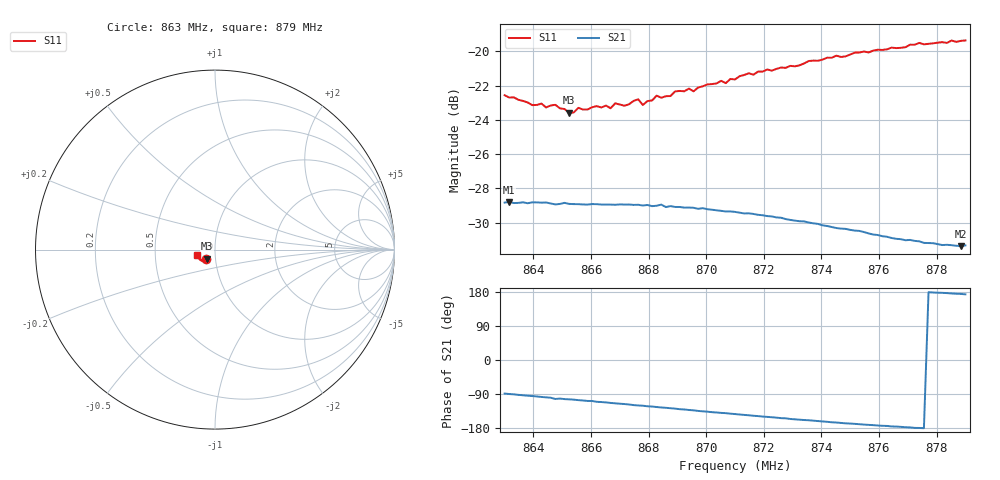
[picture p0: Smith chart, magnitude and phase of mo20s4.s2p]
# HZ S RI R 50
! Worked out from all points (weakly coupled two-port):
!   101 points, 863 MHz to 879 MHz, reference 50 ohm
!   highest |S21| = -28.79 dB at 863.16 MHz (marker M1); lowest = -31.4 dB at 878.84 MHz (marker M2)
!   lowest |S11| = -23.6 dB at 865.24 MHz (marker M3), VSWR 1.14, Z = 45.7 - j4.65 ohm
!   |S11| at or under -10 dB: start of sweep to end of sweep
!   S12 and S22 are empty: the file has one direction only
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8.63e8  -0.0527 -0.0525  0.000939 -0.0362  0 0  0 0
8.6316e8  -0.0506 -0.053  0.000124 -0.0364  0 0  0 0
8.6444e8  -0.046 -0.0508  -0.00537 -0.0358  0 0  0 0
8.6476e8  -0.0457 -0.0527  -0.00794 -0.0348  0 0  0 0
8.6524e8  -0.0425 -0.0507  -0.00853 -0.0348  0 0  0 0
8.6572e8  -0.0419 -0.0531  -0.0103 -0.0342  0 0  0 0
8.6652e8  -0.0409 -0.0561  -0.0133 -0.0331  0 0  0 0
8.6668e8  -0.0404 -0.0549  -0.0141 -0.0328  0 0  0 0
8.6684e8  -0.0414 -0.057  -0.0147 -0.0325  0 0  0 0
8.6716e8  -0.0409 -0.056  -0.0158 -0.032  0 0  0 0
8.6764e8  -0.0428 -0.0584  -0.0178 -0.0309  0 0  0 0
8.678e8  -0.0409 -0.0564  -0.0181 -0.0305  0 0  0 0
8.6828e8  -0.0423 -0.061  -0.0199 -0.0293  0 0  0 0
8.6844e8  -0.0421 -0.0598  -0.0206 -0.0291  0 0  0 0
8.6892e8  -0.0445 -0.0621  -0.0218 -0.0276  0 0  0 0
8.6956e8  -0.0459 -0.061  -0.0238 -0.0256  0 0  0 0
8.71e8  -0.0524 -0.064  -0.027 -0.0206  0 0  0 0
8.7148e8  -0.0553 -0.0662  -0.0279 -0.0189  0 0  0 0
8.7372e8  -0.0686 -0.0641  -0.0296 -0.0107  0 0  0 0
8.7644e8  -0.0882 -0.0521  -0.0284 -0.0023  0 0  0 0
8.7884e8  -0.1021 -0.0327  -0.0269 0.00264  0 0  0 0
8.79e8  -0.1029 -0.0312  -0.0269 0.00314  0 0  0 0
